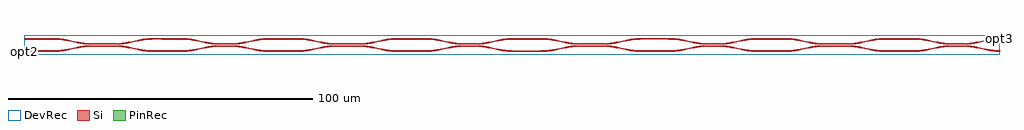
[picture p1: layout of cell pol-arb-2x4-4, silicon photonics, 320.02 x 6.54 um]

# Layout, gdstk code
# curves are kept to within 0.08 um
import gdstk
lib = gdstk.Library(unit=1e-6, precision=1e-09)
def R(c, l, rs):  # rectangles x0, y0, x1, y1
    for r in rs: c.add(gdstk.rectangle(r[:2], r[2:], *l))
def P(c, l, *ps):  # polygons
    for p in ps: c.add(gdstk.Polygon(p, *l))
Si = (1, 0)
PinRec = (1, 10)
DevRec = (68, 0)

layer_0_0_phase_sec_0 = lib.new_cell('layer-0_0_phase_sec_0')
P(layer_0_0_phase_sec_0, Si, [(3.107,-0.244),(0,-0.225),(0,0.225),(10,0.225),(10,-0.225)])

layer_0_0_phase_sec_1 = lib.new_cell('layer-0_0_phase_sec_1')
P(layer_0_0_phase_sec_1, Si, [(0,-0.225),(0,0.225),(10,0.225),(10,-0.225)])

dc_arm_up_8 = lib.new_cell('dc_arm_up_8')
R(dc_arm_up_8, Si, [(12,0.1,20,0.55)])
P(dc_arm_up_8, Si, [(12,0.1),(10.861,0.137),(9.344,0.292),(2.966,1.532),(1.481,1.712),(0,1.775),(0,2.225),(1.139,2.188),(2.656,2.033),(9.034,0.793),(10.519,0.613),(12,0.55)],
  [(20,0.1),(20,0.55),(21.481,0.613),(22.966,0.793),(29.344,2.033),(30.861,2.188),(32,2.225),(32,1.775),(30.519,1.712),(29.034,1.532),(22.656,0.292),(21.139,0.137)])

dc_arm_down_8 = lib.new_cell('dc_arm_down_8')
R(dc_arm_down_8, Si, [(12,-0.55,20,-0.1)])
P(dc_arm_down_8, Si, [(0,-2.225),(0,-1.775),(1.481,-1.712),(2.966,-1.532),(9.344,-0.292),(10.861,-0.137),(12,-0.1),(12,-0.55),(10.519,-0.613),(9.034,-0.793),(2.656,-2.033),(1.139,-2.188)],
  [(32,-2.225),(30.861,-2.188),(29.344,-2.033),(22.966,-0.793),(21.481,-0.613),(20,-0.55),(20,-0.1),(21.139,-0.137),(22.656,-0.292),(29.034,-1.532),(30.519,-1.712),(32,-1.775)])

dc_8 = lib.new_cell('dc_8')
dc_8.add(gdstk.Reference(dc_arm_up_8, (0,0)))
dc_8.add(gdstk.Reference(dc_arm_down_8, (0,0)))

layer_0_0_phase_sec_2 = lib.new_cell('layer-0_0_phase_sec_2')
P(layer_0_0_phase_sec_2, Si, [(0,-0.225),(0,0.225),(10,0.225),(10,-0.225)])

layer_0_0_phase_sec_3 = lib.new_cell('layer-0_0_phase_sec_3')
P(layer_0_0_phase_sec_3, Si, [(3.126,-0.255),(0,-0.225),(0,0.225),(10,0.225),(10,-0.225)])

dc_arm_up_4 = lib.new_cell('dc_arm_up_4')
R(dc_arm_up_4, Si, [(12,0.1,16,0.55)])
P(dc_arm_up_4, Si, [(12,0.1),(10.861,0.137),(9.344,0.292),(2.966,1.532),(1.481,1.712),(0,1.775),(0,2.225),(1.139,2.188),(2.656,2.033),(9.034,0.793),(10.519,0.613),(12,0.55)],
  [(16,0.1),(16,0.55),(17.481,0.613),(18.966,0.793),(25.344,2.033),(26.861,2.188),(28,2.225),(28,1.775),(26.519,1.712),(25.034,1.532),(18.656,0.292),(17.139,0.137)])

dc_arm_down_4 = lib.new_cell('dc_arm_down_4')
R(dc_arm_down_4, Si, [(12,-0.55,16,-0.1)])
P(dc_arm_down_4, Si, [(0,-2.225),(0,-1.775),(1.481,-1.712),(2.966,-1.532),(9.344,-0.292),(10.861,-0.137),(12,-0.1),(12,-0.55),(10.519,-0.613),(9.034,-0.793),(2.656,-2.033),(1.139,-2.188)],
  [(28,-2.225),(26.861,-2.188),(25.344,-2.033),(18.966,-0.793),(17.481,-0.613),(16,-0.55),(16,-0.1),(17.139,-0.137),(18.656,-0.292),(25.034,-1.532),(26.519,-1.712),(28,-1.775)])

dc_4 = lib.new_cell('dc_4')
dc_4.add(gdstk.Reference(dc_arm_up_4, (0,0)))
dc_4.add(gdstk.Reference(dc_arm_down_4, (0,0)))

layer_1_0_phase_sec_0 = lib.new_cell('layer-1_0_phase_sec_0')
P(layer_1_0_phase_sec_0, Si, [(4.672,-0.242),(0,-0.225),(0,0.225),(10,0.225),(10,-0.225)])

layer_1_0_phase_sec_1 = lib.new_cell('layer-1_0_phase_sec_1')
P(layer_1_0_phase_sec_1, Si, [(0,-0.225),(0,0.225),(10,0.225),(10,-0.225)])

layer_1_0_phase_sec_2 = lib.new_cell('layer-1_0_phase_sec_2')
P(layer_1_0_phase_sec_2, Si, [(0,-0.225),(0,0.225),(10,0.225),(10,-0.225)])

layer_1_0_phase_sec_3 = lib.new_cell('layer-1_0_phase_sec_3')
P(layer_1_0_phase_sec_3, Si, [(0,-0.225),(0,0.225),(10,0.225),(10,-0.225)])

layer_2_0_phase_sec_0 = lib.new_cell('layer-2_0_phase_sec_0')
P(layer_2_0_phase_sec_0, Si, [(6.234,-0.269),(0,-0.225),(0,0.225),(10,0.225),(10,-0.225)])

layer_2_0_phase_sec_1 = lib.new_cell('layer-2_0_phase_sec_1')
P(layer_2_0_phase_sec_1, Si, [(0,-0.225),(0,0.225),(1.576,0.175),(7.88,0.176),(10,0.225),(10,-0.225),(6.304,-0.175),(1.576,-0.175)])

layer_2_0_phase_sec_2 = lib.new_cell('layer-2_0_phase_sec_2')
P(layer_2_0_phase_sec_2, Si, [(0,-0.225),(0,0.225),(3.112,0.178),(10,0.225),(10,-0.225),(3.112,-0.178)])

layer_2_0_phase_sec_3 = lib.new_cell('layer-2_0_phase_sec_3')
P(layer_2_0_phase_sec_3, Si, [(1.561,-0.276),(0,-0.225),(0,0.225),(1.561,0.276),(10,0.225),(10,-0.225)])

layer_3_0_phase_sec_0 = lib.new_cell('layer-3_0_phase_sec_0')
P(layer_3_0_phase_sec_0, Si, [(6.231,-0.24),(0,-0.225),(0,0.225),(10,0.225),(10,-0.225)])

layer_3_0_phase_sec_1 = lib.new_cell('layer-3_0_phase_sec_1')
P(layer_3_0_phase_sec_1, Si, [(0,-0.225),(0,0.225),(10,0.225),(10,-0.225)])

layer_3_0_phase_sec_2 = lib.new_cell('layer-3_0_phase_sec_2')
P(layer_3_0_phase_sec_2, Si, [(0,-0.225),(0,0.225),(10,0.225),(10,-0.225)])

layer_3_0_phase_sec_3 = lib.new_cell('layer-3_0_phase_sec_3')
P(layer_3_0_phase_sec_3, Si, [(4.712,-0.275),(0,-0.225),(0,0.225),(4.712,0.275),(10,0.225),(10,-0.225)])

pol_arb_2x4_4 = lib.new_cell('pol-arb-2x4-4')
R(pol_arb_2x4_4, DevRec, [(0,-1,320,5.545)])
pol_arb_2x4_4.add(gdstk.FlexPath([(0.01,0.276),(-0.01,0.276)], 0.45, ends="flush", simple_path=True, layer=1, datatype=10))  # PinRec
pol_arb_2x4_4.add(gdstk.FlexPath([(0.01,4.276),(-0.01,4.276)], 0.45, ends="flush", simple_path=True, layer=1, datatype=10))  # PinRec
pol_arb_2x4_4.add(gdstk.FlexPath([(319.99,4.276),(320.01,4.276)], 0.45, ends="flush", simple_path=True, layer=1, datatype=10))  # PinRec
pol_arb_2x4_4.add(gdstk.FlexPath([(319.99,0.276),(320.01,0.276)], 0.45, ends="flush", simple_path=True, layer=1, datatype=10))  # PinRec
pol_arb_2x4_4.add(gdstk.Reference(layer_0_0_phase_sec_0, (0,4.276)))
pol_arb_2x4_4.add(gdstk.Reference(layer_0_0_phase_sec_1, (0,0.276)))
pol_arb_2x4_4.add(gdstk.Reference(dc_8, (10,2.276)))
pol_arb_2x4_4.add(gdstk.Reference(layer_0_0_phase_sec_2, (42,4.276)))
pol_arb_2x4_4.add(gdstk.Reference(layer_0_0_phase_sec_3, (42,0.276)))
pol_arb_2x4_4.add(gdstk.Reference(dc_4, (52,2.276)))
pol_arb_2x4_4.add(gdstk.Reference(layer_1_0_phase_sec_0, (80,4.276)))
pol_arb_2x4_4.add(gdstk.Reference(layer_1_0_phase_sec_1, (80,0.276)))
pol_arb_2x4_4.add(gdstk.Reference(dc_8, (90,2.276)))
pol_arb_2x4_4.add(gdstk.Reference(layer_1_0_phase_sec_2, (122,4.276)))
pol_arb_2x4_4.add(gdstk.Reference(layer_1_0_phase_sec_3, (122,0.276)))
pol_arb_2x4_4.add(gdstk.Reference(dc_4, (132,2.276)))
pol_arb_2x4_4.add(gdstk.Reference(layer_2_0_phase_sec_0, (160,4.276)))
pol_arb_2x4_4.add(gdstk.Reference(layer_2_0_phase_sec_1, (160,0.276)))
pol_arb_2x4_4.add(gdstk.Reference(dc_8, (170,2.276)))
pol_arb_2x4_4.add(gdstk.Reference(layer_2_0_phase_sec_2, (202,4.276)))
pol_arb_2x4_4.add(gdstk.Reference(layer_2_0_phase_sec_3, (202,0.276)))
pol_arb_2x4_4.add(gdstk.Reference(dc_4, (212,2.276)))
pol_arb_2x4_4.add(gdstk.Reference(layer_3_0_phase_sec_0, (240,4.276)))
pol_arb_2x4_4.add(gdstk.Reference(layer_3_0_phase_sec_1, (240,0.276)))
pol_arb_2x4_4.add(gdstk.Reference(dc_8, (250,2.276)))
pol_arb_2x4_4.add(gdstk.Reference(layer_3_0_phase_sec_2, (282,4.276)))
pol_arb_2x4_4.add(gdstk.Reference(layer_3_0_phase_sec_3, (282,0.276)))
pol_arb_2x4_4.add(gdstk.Reference(dc_4, (292,2.276)))
pol_arb_2x4_4.add(gdstk.Label('opt2', (0,0.276), layer=1, texttype=10))
pol_arb_2x4_4.add(gdstk.Label('opt1', (0,4.276), layer=1, texttype=10))
pol_arb_2x4_4.add(gdstk.Label('opt3', (320,4.276), layer=1, texttype=10))
pol_arb_2x4_4.add(gdstk.Label('opt4', (320,0.276), layer=1, texttype=10))

lib.write_gds('pol-arb-2x4-4.gds')
